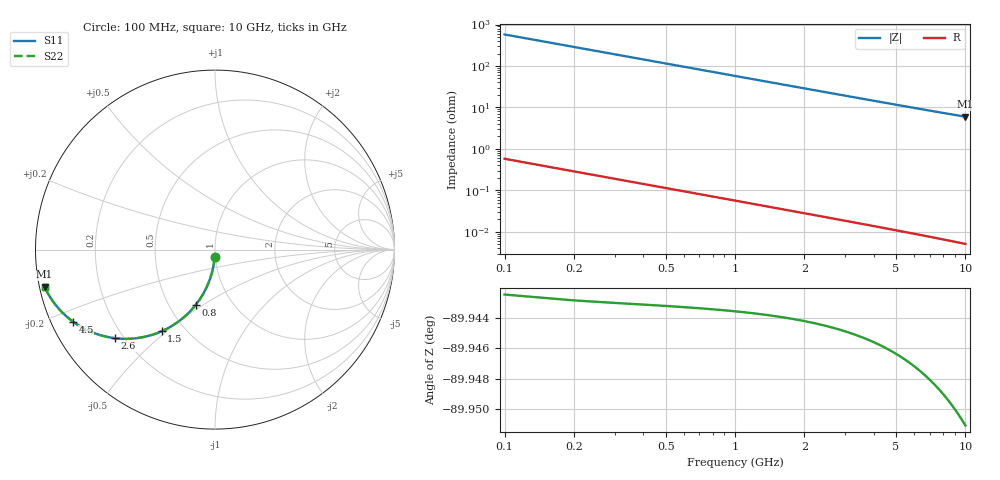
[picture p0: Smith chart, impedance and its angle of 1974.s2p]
# Hz S RI R 50.00
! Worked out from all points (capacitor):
!   100 points, 100 MHz to 10 GHz, reference 50 ohm
!   read as one part in shunt: C = 2.76 pF near 100 MHz
!   lowest |Z| = 5.99 ohm at 10 GHz (marker M1)
!   S11 on the Smith chart (normalised r, x): 100 MHz: 0.99, -0.09; 800 MHz: 0.68, -0.47; 1.5 GHz: 0.37, -0.48; 2.6 GHz: 0.17, -0.37; 4.5 GHz: 0.06, -0.24; 10 GHz: 0.01, -0.11
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1e8  -0.00189 -0.0432  0.998 -0.0434  0.998 -0.0434  -0.00189 -0.0432
2e8  -0.00754 -0.086  0.9924 -0.0864  0.9924 -0.0864  -0.00754 -0.086
3e8  -0.0168 -0.1278  0.9832 -0.1283  0.9832 -0.1283  -0.0168 -0.1278
4e8  -0.0294 -0.1681  0.9705 -0.1689  0.9705 -0.1689  -0.0294 -0.1681
5e8  -0.0452 -0.2067  0.9548 -0.2077  0.9548 -0.2077  -0.0452 -0.2067
6e8  -0.0637 -0.2432  0.9362 -0.2444  0.9362 -0.2444  -0.0637 -0.2432
8e8  -0.1078 -0.3089  0.8921 -0.3105  0.8921 -0.3105  -0.1078 -0.3089
9e8  -0.1326 -0.3378  0.8673 -0.3396  0.8673 -0.3396  -0.1326 -0.3378
1.1e9  -0.1859 -0.3874  0.8141 -0.3896  0.8141 -0.3896  -0.1859 -0.3874
1.3e9  -0.2417 -0.4263  0.7583 -0.4289  0.7583 -0.4289  -0.2417 -0.4263
1.5e9  -0.2978 -0.4553  0.7021 -0.4583  0.7021 -0.4583  -0.2978 -0.4553
1.8e9  -0.379 -0.4829  0.6209 -0.4864  0.6209 -0.4864  -0.379 -0.4829
2.2e9  -0.4767 -0.4968  0.5232 -0.5011  0.5232 -0.5011  -0.4767 -0.4968
2.6e9  -0.5598 -0.4933  0.4401 -0.4985  0.4401 -0.4985  -0.5598 -0.4933
3e9  -0.6286 -0.4797  0.3713 -0.4857  0.3713 -0.4857  -0.6286 -0.4797
3.4e9  -0.6848 -0.4607  0.3151 -0.4674  0.3151 -0.4674  -0.6848 -0.4607
3.9e9  -0.7408 -0.4338  0.2591 -0.4416  0.2591 -0.4416  -0.7408 -0.4338
4.5e9  -0.7918 -0.401  0.2081 -0.41  0.2081 -0.41  -0.7918 -0.401
5.1e9  -0.8301 -0.3699  0.1698 -0.3801  0.1698 -0.3801  -0.8301 -0.3699
6.7e9  -0.894 -0.3004  0.1058 -0.3139  0.1058 -0.3139  -0.894 -0.3004
8.4e9  -0.93 -0.2458  0.0697 -0.2629  0.0697 -0.2629  -0.93 -0.2458
1e10  -0.9498 -0.2073  0.0499 -0.2279  0.0499 -0.2279  -0.9498 -0.2073
